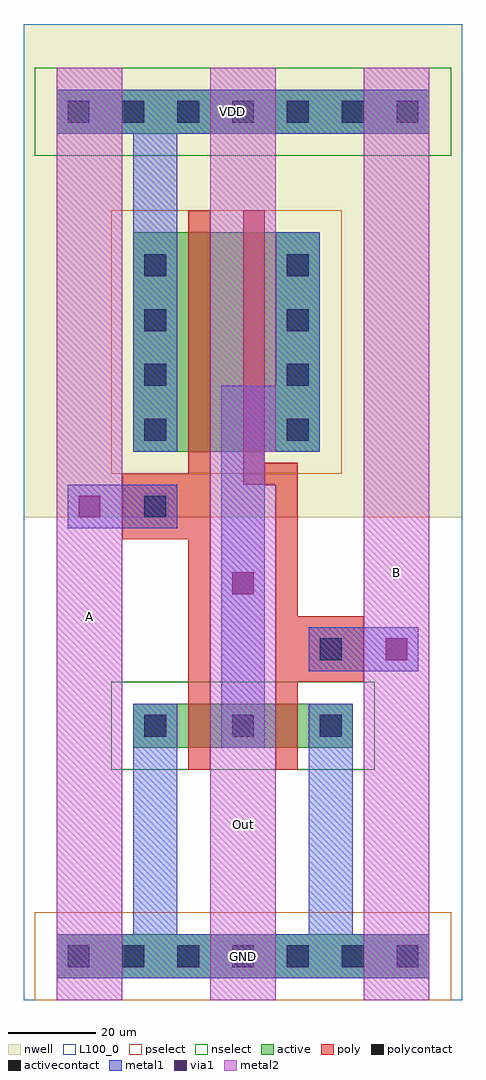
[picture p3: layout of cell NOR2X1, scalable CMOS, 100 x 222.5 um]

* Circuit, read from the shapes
.subckt NOR2X1 A B GND Out VDD
M1 Out A GND GND nfet w=10u l=5u
M2 GND B Out GND nfet w=10u l=5u
M3 n1 A VDD VDD pfet w=50u l=5u
M4 Out B n1 VDD pfet w=50u l=5u
.ends

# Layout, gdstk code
import gdstk
lib = gdstk.Library(unit=1e-6, precision=1e-09)
def R(c, l, rs):  # rectangles x0, y0, x1, y1
    for r in rs: c.add(gdstk.rectangle(r[:2], r[2:], *l))
def A(c, l, x, y, w, h, nx, ny, dx, dy):  # array of equal rectangles
    R(c, l, [(x+i*dx, y+j*dy, x+i*dx+w, y+j*dy+h) for i in range(nx) for j in range(ny)])
nwell = (42, 0)
active = (43, 0)
pselect = (44, 0)
nselect = (45, 0)
poly = (46, 0)
polycontact = (47, 0)
activecontact = (48, 0)
metal1 = (49, 0)
via1 = (50, 0)
metal2 = (51, 0)
L100_0 = (100, 0)

nor2x1 = lib.new_cell('NOR2X1')
R(nor2x1, nwell, [(0,110,100,125), (0,112.5,100,222.5), (7.5,112.5,92.5,190), (0,190,100,215), (7.5,215,92.5,222.5)])
R(nor2x1, active, [(7.5,5,92.5,15), (25,57.5,75,67.5), (25,125,67.5,175), (7.5,197.5,92.5,207.5)])
R(nor2x1, pselect, [(2.5,0,97.5,20), (20,120,72.5,180)])
R(nor2x1, nselect, [(20,52.5,80,72.5), (2.5,192.5,97.5,212.5)])
R(nor2x1, poly, [(37.5,52.5,42.5,105), (57.5,52.5,62.5,72.5), (57.5,72.5,77.5,87.5), (57.5,87.5,62.5,117.5), (22.5,105,42.5,120), (50,117.5,62.5,122.5), (37.5,120,42.5,180), (50,122.5,55,180)])
R(nor2x1, polycontact, [(67.5,77.5,72.5,82.5), (27.5,110,32.5,115)])
A(nor2x1, activecontact, 10, 7.5, 5, 5, 7, 2, 12.5, 192.5)
A(nor2x1, activecontact, 27.5, 60, 5, 5, 3, 1, 20, 0)
A(nor2x1, activecontact, 27.5, 127.5, 5, 5, 1, 4, 0, 12.5)
A(nor2x1, activecontact, 60, 127.5, 5, 5, 1, 4, 0, 12.5)
R(nor2x1, metal1, [(7.5,5,92.5,15), (25,15,35,67.5), (65,15,75,67.5), (45,57.5,55,125), (65,75,90,85), (10,107.5,35,117.5), (25,125,35,197.5), (45,125,67.5,140), (57.5,140,67.5,175), (7.5,197.5,92.5,207.5)])
R(nor2x1, via1, [(82.5,77.5,87.5,82.5), (47.5,92.5,52.5,97.5), (12.5,110,17.5,115)])
R(nor2x1, metal2, [(7.5,0,22.5,212.5), (42.5,0,57.5,117.5), (77.5,0,92.5,212.5), (42.5,117.5,55,125), (42.5,125,57.5,212.5)])
R(nor2x1, L100_0, [(0,0,100,222.5)])
nor2x1.add(gdstk.Label('GND', (50,10), layer=49, texttype=1))
nor2x1.add(gdstk.Label('VDD', (47.5,202.5), layer=49, texttype=1))
nor2x1.add(gdstk.Label('A', (15,87.5), layer=51, texttype=1))
nor2x1.add(gdstk.Label('B', (85,97.5), layer=51, texttype=1))
nor2x1.add(gdstk.Label('Out', (50,40), layer=51, texttype=1))

lib.write_gds('NOR2X1.gds')
